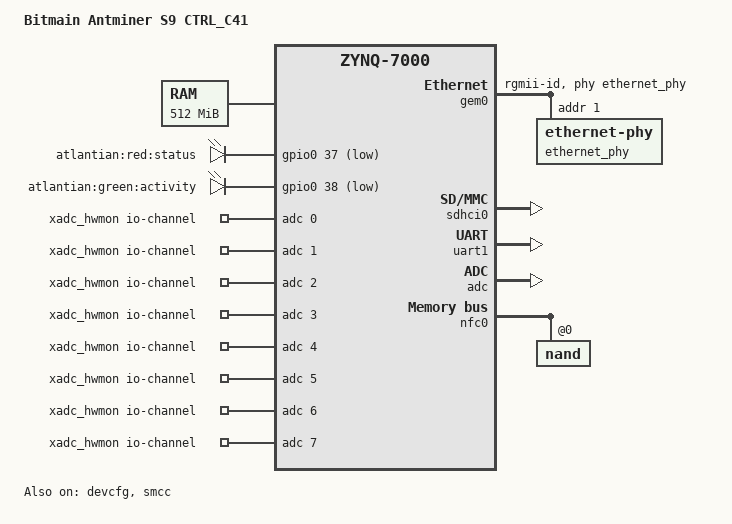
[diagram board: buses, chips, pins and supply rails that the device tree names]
// SPDX-License-Identifier: GPL-2.0
/* AtlANTian base hardware contract for Bitmain CTRL_C41 / Antminer S9. */
/dts-v1/;
#include "zynq-7000.dtsi"
#include <dt-bindings/gpio/gpio.h>

/ {
	model = "Bitmain Antminer S9 CTRL_C41";
	compatible = "bitmain,antminer-s9", "xlnx,zynq-7000";

	aliases {
		ethernet0 = &gem0;
		serial0 = &uart1;
		mmc0 = &sdhci0;
		gpio0 = &gpio0;
		nand0 = &nfc0;
	};

	memory@0 {
		device_type = "memory";
		reg = <0x0 0x20000000>; /* measured 512 MiB */
	};

	reserved-memory {
		#address-cells = <1>;
		#size-cells = <1>;
		ranges;
		bootcount@efffff0 { reg = <0x0efffff0 0x10>; no-map; };
		fpga_space@f000000 { reg = <0x0f000000 0x01000000>; no-map; };
	};

	chosen { stdout-path = "serial0:115200n8"; };

	/*
	 * D3 is the bicolour board-status LED.  Its two 2N7002 low-side
	 * switches are driven directly by PS MIO37 (red) and MIO38 (green).
	 * Board validation shows the illuminated state at a raw GPIO low, so the
	 * LED class must invert the physical level.  Export them through the
	 * standard LED class rather than leaving them as undocumented GPIOs.
	 */
	leds {
		compatible = "gpio-leds";

		status_red {
			label = "atlantian:red:status";
			gpios = <&gpio0 37 GPIO_ACTIVE_LOW>;
			default-state = "off";
		};

		activity_green {
			label = "atlantian:green:activity";
			gpios = <&gpio0 38 GPIO_ACTIVE_LOW>;
			default-state = "off";
		};
	};

	/* The base image supplies FPGA infrastructure, never a bitstream. */
	fpga_full: fpga-full {
		compatible = "fpga-region";
		fpga-mgr = <&devcfg>;
		#address-cells = <1>;
		#size-cells = <1>;
		ranges;
	};

	/* Preserve native IIO and also expose XADC through standard hwmon/sensors. */
	xadc_hwmon: xadc-hwmon {
		compatible = "iio-hwmon";
		io-channels = <&adc 0>, <&adc 1>, <&adc 2>, <&adc 3>,
			      <&adc 4>, <&adc 5>, <&adc 6>, <&adc 7>, <&adc 8>;
	};
};

&clkc { ps-clk-frequency = <33333333>; };

&gem0 {
	status = "okay";
	phy-mode = "rgmii-id";
	phy-handle = <&ethernet_phy>;
	ethernet_phy: ethernet-phy@1 { reg = <1>; };
};

&sdhci0 { status = "okay"; disable-wp; };
&uart1 { status = "okay"; };
&gpio0 { status = "okay"; };
&devcfg { status = "okay"; };
&adc {
	status = "okay";
	#io-channel-cells = <1>;
};
&smcc { status = "okay"; };
&nfc0 {
	status = "okay";

	/* The PL353 driver discovers chips from child chip-select nodes. */
	nand@0 {
		reg = <0>;
	};
};
&watchdog0 { reset-on-timeout; timeout-sec = <200>; };
